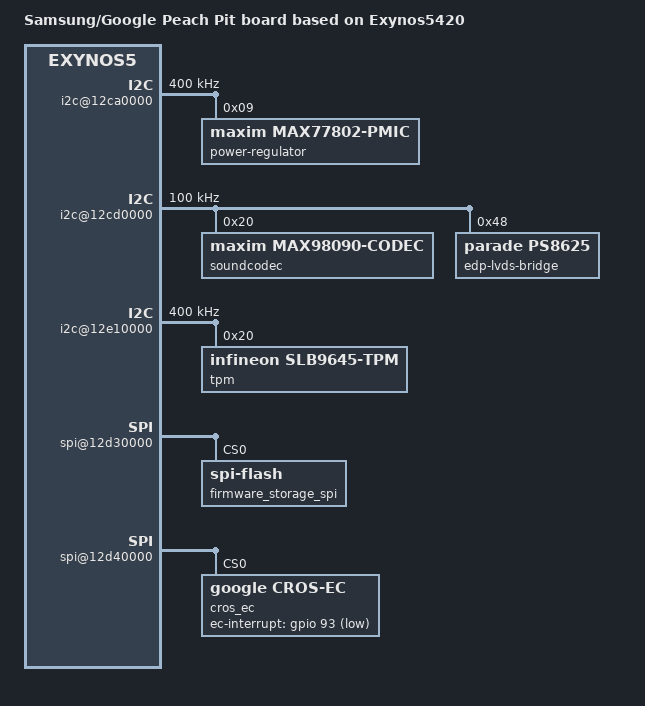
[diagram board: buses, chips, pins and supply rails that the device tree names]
/*
 * SAMSUNG/GOOGLE Peach-Pit board device tree source
 *
 * Copyright (c) 2013 Samsung Electronics Co., Ltd.
 *		http://www.samsung.com
 *
 * SPDX-License-Identifier:	GPL-2.0+
 */

/dts-v1/;
#include "exynos54xx.dtsi"

/ {
	model = "Samsung/Google Peach Pit board based on Exynos5420";

	compatible = "google,pit-rev#", "google,pit",
		"google,peach", "samsung,exynos5420", "samsung,exynos5";

	config {
		google,bad-wake-gpios = <&gpio 0x56 0>; /* gpx0-6 */
		hwid = "PIT TEST A-A 7848";
		lazy-init = <1>;
	};

	aliases {
		serial0 = "/serial@12C30000";
		console = "/serial@12C30000";
		pmic = "/i2c@12ca0000";
	};

	dmc {
		mem-manuf = "samsung";
		mem-type = "ddr3";
		clock-frequency = <800000000>;
		arm-frequency = <900000000>;
	};

	tmu@10060000 {
		samsung,min-temp	= <25>;
		samsung,max-temp	= <125>;
		samsung,start-warning	= <95>;
		samsung,start-tripping	= <105>;
		samsung,hw-tripping	= <110>;
		samsung,efuse-min-value	= <40>;
		samsung,efuse-value	= <55>;
		samsung,efuse-max-value	= <100>;
		samsung,slope		= <274761730>;
		samsung,dc-value	= <25>;
	};

	/* MAX77802 is on i2c bus 4 */
	i2c@12ca0000 {
		clock-frequency = <400000>;
		power-regulator@9 {
			compatible = "maxim,max77802-pmic";
			reg = <0x9>;
		};
	};

	i2c@12cd0000 { /* i2c7 */
		clock-frequency = <100000>;
	       soundcodec@20 {
	              reg = <0x20>;
	              compatible = "maxim,max98090-codec";
	       };

	        edp-lvds-bridge@48 {
	                compatible = "parade,ps8625";
	                reg = <0x48>;
	        };
	};

        sound@3830000 {
                samsung,codec-type = "max98090";
        };

	i2c@12e10000 { /* i2c9 */
		clock-frequency = <400000>;
                tpm@20 {
                        compatible = "infineon,slb9645-tpm";
                        reg = <0x20>;
		};
	};

	spi@12d30000 { /* spi1 */
		spi-max-frequency = <50000000>;
		firmware_storage_spi: flash@0 {
			compatible = "spi-flash";
			reg = <0>;

			/*
			 * A region for the kernel to store a panic event
			 * which the firmware will add to the log.
			*/
			elog-panic-event-offset = <0x01e00000 0x100000>;

			elog-shrink-size = <0x400>;
			elog-full-threshold = <0xc00>;
		};
	};

	spi@12d40000 { /* spi2 */
		spi-max-frequency = <4000000>;
		spi-deactivate-delay = <200>;
		cros_ec: cros-ec@0 {
			reg = <0>;
			compatible = "google,cros-ec";
			spi-half-duplex;
			spi-max-timeout-ms = <1100>;
			spi-frame-header = <0xec>;
			ec-interrupt = <&gpio 93 1>; /* GPX1_5 */

			/*
			 * This describes the flash memory within the EC. Note
			 * that the STM32L flash erases to 0, not 0xff.
			 */
			#address-cells = <1>;
			#size-cells = <1>;
			flash@8000000 {
				reg = <0x08000000 0x20000>;
				erase-value = <0>;
			};
		};
	};

	xhci@12000000 {
		samsung,vbus-gpio = <&gpio 0x40 0>; /* H00 */
	};

	xhci@12400000 {
		samsung,vbus-gpio = <&gpio 0x41 0>; /* H01 */
	};

	fimd@14400000 {
		samsung,vl-freq = <60>;
		samsung,vl-col = <1366>;
		samsung,vl-row = <768>;
		samsung,vl-width = <1366>;
		samsung,vl-height = <768>;

		samsung,vl-clkp;
		samsung,vl-dp;
		samsung,vl-bpix = <4>;

		samsung,vl-hspw = <32>;
		samsung,vl-hbpd = <40>;
		samsung,vl-hfpd = <40>;
		samsung,vl-vspw = <6>;
		samsung,vl-vbpd = <10>;
		samsung,vl-vfpd = <12>;
		samsung,vl-cmd-allow-len = <0xf>;

		samsung,winid = <3>;
		samsung,interface-mode = <1>;
		samsung,dp-enabled = <1>;
		samsung,dual-lcd-enabled = <0>;
	};
};

#include "cros-ec-keyboard.dtsi"
